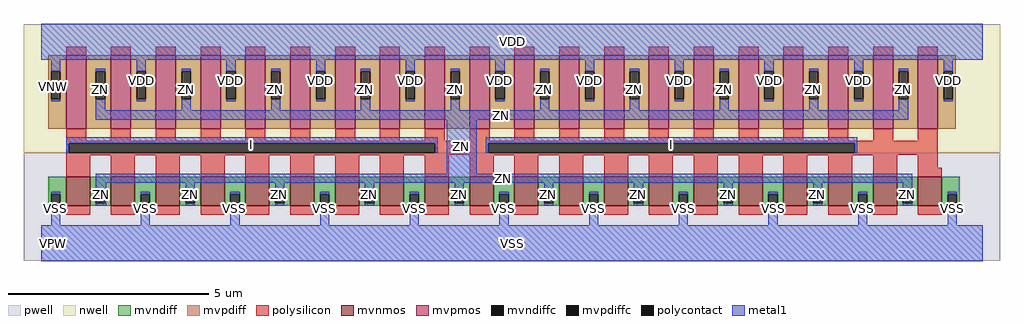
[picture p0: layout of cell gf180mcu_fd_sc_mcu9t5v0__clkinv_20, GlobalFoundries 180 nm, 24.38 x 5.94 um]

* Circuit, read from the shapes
.subckt gf180mcu_fd_sc_mcu9t5v0__clkinv_20 I ZN VDD VNW VPW VSS
XM1 ZN I VSS VPW nfet_06v0 w=0.73u l=0.6u m=20
XM2 ZN I VDD VNW pfet_06v0 w=1.83u l=0.5u m=20
.ends

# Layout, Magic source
magic
tech gf180mcuD
magscale 1 10
<< nwell >>
rect -86 453 4790 1094
<< pwell >>
rect -86 -86 4790 453
<< mvnmos >>
rect 124 187 244 333
rect 348 187 468 333
rect 572 187 692 333
rect 796 187 916 333
rect 1020 187 1140 333
rect 1244 187 1364 333
rect 1468 187 1588 333
rect 1692 187 1812 333
rect 1916 187 2036 333
rect 2140 187 2260 333
rect 2364 187 2484 333
rect 2588 187 2708 333
rect 2812 187 2932 333
rect 3036 187 3156 333
rect 3260 187 3380 333
rect 3484 187 3604 333
rect 3708 187 3828 333
rect 3932 187 4052 333
rect 4156 187 4276 333
rect 4380 187 4500 333
<< mvpmos >>
rect 124 573 224 939
rect 348 573 448 939
rect 572 573 672 939
rect 796 573 896 939
rect 1020 573 1120 939
rect 1244 573 1344 939
rect 1468 573 1568 939
rect 1692 573 1792 939
rect 1916 573 2016 939
rect 2140 573 2240 939
rect 2364 573 2464 939
rect 2588 573 2688 939
rect 2812 573 2912 939
rect 3036 573 3136 939
rect 3260 573 3360 939
rect 3484 573 3584 939
rect 3708 573 3808 939
rect 3932 573 4032 939
rect 4156 573 4256 939
rect 4380 573 4480 939
<< mvndiff >>
rect 36 246 124 333
rect 36 200 49 246
rect 95 200 124 246
rect 36 187 124 200
rect 244 246 348 333
rect 244 200 273 246
rect 319 200 348 246
rect 244 187 348 200
rect 468 246 572 333
rect 468 200 497 246
rect 543 200 572 246
rect 468 187 572 200
rect 692 246 796 333
rect 692 200 721 246
rect 767 200 796 246
rect 692 187 796 200
rect 916 246 1020 333
rect 916 200 945 246
rect 991 200 1020 246
rect 916 187 1020 200
rect 1140 246 1244 333
rect 1140 200 1169 246
rect 1215 200 1244 246
rect 1140 187 1244 200
rect 1364 246 1468 333
rect 1364 200 1393 246
rect 1439 200 1468 246
rect 1364 187 1468 200
rect 1588 246 1692 333
rect 1588 200 1617 246
rect 1663 200 1692 246
rect 1588 187 1692 200
rect 1812 246 1916 333
rect 1812 200 1841 246
rect 1887 200 1916 246
rect 1812 187 1916 200
rect 2036 246 2140 333
rect 2036 200 2065 246
rect 2111 200 2140 246
rect 2036 187 2140 200
rect 2260 246 2364 333
rect 2260 200 2289 246
rect 2335 200 2364 246
rect 2260 187 2364 200
rect 2484 246 2588 333
rect 2484 200 2513 246
rect 2559 200 2588 246
rect 2484 187 2588 200
rect 2708 246 2812 333
rect 2708 200 2737 246
rect 2783 200 2812 246
rect 2708 187 2812 200
rect 2932 246 3036 333
rect 2932 200 2961 246
rect 3007 200 3036 246
rect 2932 187 3036 200
rect 3156 246 3260 333
rect 3156 200 3185 246
rect 3231 200 3260 246
rect 3156 187 3260 200
rect 3380 246 3484 333
rect 3380 200 3409 246
rect 3455 200 3484 246
rect 3380 187 3484 200
rect 3604 246 3708 333
rect 3604 200 3633 246
rect 3679 200 3708 246
rect 3604 187 3708 200
rect 3828 246 3932 333
rect 3828 200 3857 246
rect 3903 200 3932 246
rect 3828 187 3932 200
rect 4052 246 4156 333
rect 4052 200 4081 246
rect 4127 200 4156 246
rect 4052 187 4156 200
rect 4276 246 4380 333
rect 4276 200 4305 246
rect 4351 200 4380 246
rect 4276 187 4380 200
rect 4500 246 4588 333
rect 4500 200 4529 246
rect 4575 200 4588 246
rect 4500 187 4588 200
<< mvpdiff >>
rect 36 861 124 939
rect 36 721 49 861
rect 95 721 124 861
rect 36 573 124 721
rect 224 861 348 939
rect 224 721 273 861
rect 319 721 348 861
rect 224 573 348 721
rect 448 861 572 939
rect 448 721 477 861
rect 523 721 572 861
rect 448 573 572 721
rect 672 861 796 939
rect 672 721 701 861
rect 747 721 796 861
rect 672 573 796 721
rect 896 861 1020 939
rect 896 721 925 861
rect 971 721 1020 861
rect 896 573 1020 721
rect 1120 861 1244 939
rect 1120 721 1149 861
rect 1195 721 1244 861
rect 1120 573 1244 721
rect 1344 861 1468 939
rect 1344 721 1373 861
rect 1419 721 1468 861
rect 1344 573 1468 721
rect 1568 861 1692 939
rect 1568 721 1597 861
rect 1643 721 1692 861
rect 1568 573 1692 721
rect 1792 861 1916 939
rect 1792 721 1821 861
rect 1867 721 1916 861
rect 1792 573 1916 721
rect 2016 861 2140 939
rect 2016 721 2045 861
rect 2091 721 2140 861
rect 2016 573 2140 721
rect 2240 861 2364 939
rect 2240 721 2269 861
rect 2315 721 2364 861
rect 2240 573 2364 721
rect 2464 861 2588 939
rect 2464 721 2493 861
rect 2539 721 2588 861
rect 2464 573 2588 721
rect 2688 861 2812 939
rect 2688 721 2717 861
rect 2763 721 2812 861
rect 2688 573 2812 721
rect 2912 861 3036 939
rect 2912 721 2941 861
rect 2987 721 3036 861
rect 2912 573 3036 721
rect 3136 861 3260 939
rect 3136 721 3165 861
rect 3211 721 3260 861
rect 3136 573 3260 721
rect 3360 861 3484 939
rect 3360 721 3389 861
rect 3435 721 3484 861
rect 3360 573 3484 721
rect 3584 861 3708 939
rect 3584 721 3613 861
rect 3659 721 3708 861
rect 3584 573 3708 721
rect 3808 861 3932 939
rect 3808 721 3837 861
rect 3883 721 3932 861
rect 3808 573 3932 721
rect 4032 861 4156 939
rect 4032 721 4061 861
rect 4107 721 4156 861
rect 4032 573 4156 721
rect 4256 861 4380 939
rect 4256 721 4285 861
rect 4331 721 4380 861
rect 4256 573 4380 721
rect 4480 861 4568 939
rect 4480 721 4509 861
rect 4555 721 4568 861
rect 4480 573 4568 721
<< mvndiffc >>
rect 49 200 95 246
rect 273 200 319 246
rect 497 200 543 246
rect 721 200 767 246
rect 945 200 991 246
rect 1169 200 1215 246
rect 1393 200 1439 246
rect 1617 200 1663 246
rect 1841 200 1887 246
rect 2065 200 2111 246
rect 2289 200 2335 246
rect 2513 200 2559 246
rect 2737 200 2783 246
rect 2961 200 3007 246
rect 3185 200 3231 246
rect 3409 200 3455 246
rect 3633 200 3679 246
rect 3857 200 3903 246
rect 4081 200 4127 246
rect 4305 200 4351 246
rect 4529 200 4575 246
<< mvpdiffc >>
rect 49 721 95 861
rect 273 721 319 861
rect 477 721 523 861
rect 701 721 747 861
rect 925 721 971 861
rect 1149 721 1195 861
rect 1373 721 1419 861
rect 1597 721 1643 861
rect 1821 721 1867 861
rect 2045 721 2091 861
rect 2269 721 2315 861
rect 2493 721 2539 861
rect 2717 721 2763 861
rect 2941 721 2987 861
rect 3165 721 3211 861
rect 3389 721 3435 861
rect 3613 721 3659 861
rect 3837 721 3883 861
rect 4061 721 4107 861
rect 4285 721 4331 861
rect 4509 721 4555 861
<< polysilicon >>
rect 124 939 224 983
rect 348 939 448 983
rect 572 939 672 983
rect 796 939 896 983
rect 1020 939 1120 983
rect 1244 939 1344 983
rect 1468 939 1568 983
rect 1692 939 1792 983
rect 1916 939 2016 983
rect 2140 939 2240 983
rect 2364 939 2464 983
rect 2588 939 2688 983
rect 2812 939 2912 983
rect 3036 939 3136 983
rect 3260 939 3360 983
rect 3484 939 3584 983
rect 3708 939 3808 983
rect 3932 939 4032 983
rect 4156 939 4256 983
rect 4380 939 4480 983
rect 124 513 224 573
rect 348 513 448 573
rect 572 513 672 573
rect 796 513 896 573
rect 1020 513 1120 573
rect 1244 513 1344 573
rect 1468 513 1568 573
rect 1692 513 1792 573
rect 1916 513 2016 573
rect 2140 513 2240 573
rect 2364 513 2464 573
rect 2588 513 2688 573
rect 2812 513 2912 573
rect 3036 513 3136 573
rect 3260 513 3360 573
rect 3484 513 3584 573
rect 3708 513 3808 573
rect 3932 513 4032 573
rect 4156 513 4256 573
rect 124 512 4256 513
rect 4380 512 4480 573
rect 124 500 4480 512
rect 124 454 137 500
rect 1969 454 2233 500
rect 4065 454 4480 500
rect 124 442 4480 454
rect 124 441 2036 442
rect 124 333 244 441
rect 348 333 468 441
rect 572 333 692 441
rect 796 333 916 441
rect 1020 333 1140 441
rect 1244 333 1364 441
rect 1468 333 1588 441
rect 1692 333 1812 441
rect 1916 333 2036 441
rect 2140 441 4276 442
rect 2140 333 2260 441
rect 2364 333 2484 441
rect 2588 333 2708 441
rect 2812 333 2932 441
rect 3036 333 3156 441
rect 3260 333 3380 441
rect 3484 333 3604 441
rect 3708 333 3828 441
rect 3932 333 4052 441
rect 4156 333 4276 441
rect 4380 377 4480 442
rect 4380 333 4500 377
rect 124 143 244 187
rect 348 143 468 187
rect 572 143 692 187
rect 796 143 916 187
rect 1020 143 1140 187
rect 1244 143 1364 187
rect 1468 143 1588 187
rect 1692 143 1812 187
rect 1916 143 2036 187
rect 2140 143 2260 187
rect 2364 143 2484 187
rect 2588 143 2708 187
rect 2812 143 2932 187
rect 3036 143 3156 187
rect 3260 143 3380 187
rect 3484 143 3604 187
rect 3708 143 3828 187
rect 3932 143 4052 187
rect 4156 143 4276 187
rect 4380 143 4500 187
<< polycontact >>
rect 137 454 1969 500
rect 2233 454 4065 500
<< metal1 >>
rect 0 918 4704 1098
rect 49 861 95 918
rect 49 710 95 721
rect 273 861 319 872
rect 273 664 319 721
rect 477 861 523 918
rect 477 710 523 721
rect 701 861 747 872
rect 701 664 747 721
rect 925 861 971 918
rect 925 710 971 721
rect 1149 861 1195 872
rect 1149 664 1195 721
rect 1373 861 1419 918
rect 1373 710 1419 721
rect 1597 861 1643 872
rect 1597 664 1643 721
rect 1821 861 1867 918
rect 1821 710 1867 721
rect 2045 861 2091 872
rect 2045 664 2091 721
rect 2269 861 2315 918
rect 2269 710 2315 721
rect 2493 861 2539 872
rect 2493 664 2539 721
rect 2717 861 2763 918
rect 2717 710 2763 721
rect 2941 861 2987 872
rect 2941 664 2987 721
rect 3165 861 3211 918
rect 3165 710 3211 721
rect 3389 861 3435 872
rect 3389 664 3435 721
rect 3613 861 3659 918
rect 3613 710 3659 721
rect 3837 861 3883 872
rect 3837 664 3883 721
rect 4061 861 4107 918
rect 4061 710 4107 721
rect 4285 861 4331 872
rect 4285 664 4331 721
rect 4509 861 4555 918
rect 4509 710 4555 721
rect 273 618 4331 664
rect 126 500 1980 530
rect 126 454 137 500
rect 1969 454 1980 500
rect 2026 349 2176 618
rect 2222 500 4076 530
rect 2222 454 2233 500
rect 4065 454 4076 500
rect 273 303 4351 349
rect 49 246 95 257
rect 49 90 95 200
rect 273 246 325 303
rect 319 200 325 246
rect 273 189 325 200
rect 497 246 543 257
rect 497 90 543 200
rect 721 246 767 303
rect 721 189 767 200
rect 945 246 991 257
rect 945 90 991 200
rect 1169 246 1215 303
rect 1169 189 1215 200
rect 1393 246 1439 257
rect 1393 90 1439 200
rect 1617 246 1663 303
rect 1617 189 1663 200
rect 1841 246 1887 257
rect 1841 90 1887 200
rect 2065 246 2111 303
rect 2065 189 2111 200
rect 2289 246 2335 257
rect 2289 90 2335 200
rect 2513 246 2559 303
rect 2513 189 2559 200
rect 2737 246 2783 257
rect 2737 90 2783 200
rect 2961 246 3007 303
rect 2961 189 3007 200
rect 3185 246 3231 257
rect 3185 90 3231 200
rect 3409 246 3455 303
rect 3409 189 3455 200
rect 3633 246 3679 257
rect 3633 90 3679 200
rect 3857 246 3903 303
rect 3857 189 3903 200
rect 4081 246 4127 257
rect 4081 90 4127 200
rect 4305 246 4351 303
rect 4305 189 4351 200
rect 4529 246 4575 257
rect 4529 90 4575 200
rect 0 -90 4704 90
<< labels >>
flabel metal1 s 126 454 1980 530 0 FreeSans 200 0 0 0 I
port 1 nsew default input
flabel metal1 s 0 918 4704 1098 0 FreeSans 200 0 0 0 VDD
port 3 nsew power bidirectional abutment
flabel metal1 s 4529 90 4575 257 0 FreeSans 200 0 0 0 VSS
port 6 nsew ground bidirectional abutment
flabel metal1 s 4285 664 4331 872 0 FreeSans 200 0 0 0 ZN
port 2 nsew default output
flabel nwell s 10 734 110 834 0 FreeSans 400 0 0 0 VNW
port 4 nsew power bidirectional
flabel pwell s 10 -50 110 50 0 FreeSans 400 0 0 0 VPW
port 5 nsew ground bidirectional
rlabel metal1 s 2222 454 4076 530 1 I
port 1 nsew default input
rlabel metal1 s 3837 664 3883 872 1 ZN
port 2 nsew default output
rlabel metal1 s 3389 664 3435 872 1 ZN
port 2 nsew default output
rlabel metal1 s 2941 664 2987 872 1 ZN
port 2 nsew default output
rlabel metal1 s 2493 664 2539 872 1 ZN
port 2 nsew default output
rlabel metal1 s 2045 664 2091 872 1 ZN
port 2 nsew default output
rlabel metal1 s 1597 664 1643 872 1 ZN
port 2 nsew default output
rlabel metal1 s 1149 664 1195 872 1 ZN
port 2 nsew default output
rlabel metal1 s 701 664 747 872 1 ZN
port 2 nsew default output
rlabel metal1 s 273 664 319 872 1 ZN
port 2 nsew default output
rlabel metal1 s 273 618 4331 664 1 ZN
port 2 nsew default output
rlabel metal1 s 2026 349 2176 618 1 ZN
port 2 nsew default output
rlabel metal1 s 273 303 4351 349 1 ZN
port 2 nsew default output
rlabel metal1 s 4305 189 4351 303 1 ZN
port 2 nsew default output
rlabel metal1 s 3857 189 3903 303 1 ZN
port 2 nsew default output
rlabel metal1 s 3409 189 3455 303 1 ZN
port 2 nsew default output
rlabel metal1 s 2961 189 3007 303 1 ZN
port 2 nsew default output
rlabel metal1 s 2513 189 2559 303 1 ZN
port 2 nsew default output
rlabel metal1 s 2065 189 2111 303 1 ZN
port 2 nsew default output
rlabel metal1 s 1617 189 1663 303 1 ZN
port 2 nsew default output
rlabel metal1 s 1169 189 1215 303 1 ZN
port 2 nsew default output
rlabel metal1 s 721 189 767 303 1 ZN
port 2 nsew default output
rlabel metal1 s 273 189 325 303 1 ZN
port 2 nsew default output
rlabel metal1 s 4509 710 4555 918 1 VDD
port 3 nsew power bidirectional abutment
rlabel metal1 s 4061 710 4107 918 1 VDD
port 3 nsew power bidirectional abutment
rlabel metal1 s 3613 710 3659 918 1 VDD
port 3 nsew power bidirectional abutment
rlabel metal1 s 3165 710 3211 918 1 VDD
port 3 nsew power bidirectional abutment
rlabel metal1 s 2717 710 2763 918 1 VDD
port 3 nsew power bidirectional abutment
rlabel metal1 s 2269 710 2315 918 1 VDD
port 3 nsew power bidirectional abutment
rlabel metal1 s 1821 710 1867 918 1 VDD
port 3 nsew power bidirectional abutment
rlabel metal1 s 1373 710 1419 918 1 VDD
port 3 nsew power bidirectional abutment
rlabel metal1 s 925 710 971 918 1 VDD
port 3 nsew power bidirectional abutment
rlabel metal1 s 477 710 523 918 1 VDD
port 3 nsew power bidirectional abutment
rlabel metal1 s 49 710 95 918 1 VDD
port 3 nsew power bidirectional abutment
rlabel metal1 s 4081 90 4127 257 1 VSS
port 6 nsew ground bidirectional abutment
rlabel metal1 s 3633 90 3679 257 1 VSS
port 6 nsew ground bidirectional abutment
rlabel metal1 s 3185 90 3231 257 1 VSS
port 6 nsew ground bidirectional abutment
rlabel metal1 s 2737 90 2783 257 1 VSS
port 6 nsew ground bidirectional abutment
rlabel metal1 s 2289 90 2335 257 1 VSS
port 6 nsew ground bidirectional abutment
rlabel metal1 s 1841 90 1887 257 1 VSS
port 6 nsew ground bidirectional abutment
rlabel metal1 s 1393 90 1439 257 1 VSS
port 6 nsew ground bidirectional abutment
rlabel metal1 s 945 90 991 257 1 VSS
port 6 nsew ground bidirectional abutment
rlabel metal1 s 497 90 543 257 1 VSS
port 6 nsew ground bidirectional abutment
rlabel metal1 s 49 90 95 257 1 VSS
port 6 nsew ground bidirectional abutment
rlabel metal1 s 0 -90 4704 90 1 VSS
port 6 nsew ground bidirectional abutment
<< properties >>
string FIXED_BBOX 0 0 4704 1008
string GDS_END 1485558
string GDS_FILE $PDKPATH/libs.ref/gf180mcu_fd_sc_mcu9t5v0/gds/gf180mcu_fd_sc_mcu9t5v0.gds
string GDS_START 1474720
string LEFclass core
string LEFsite GF018hv5v_green_sc9
string LEFsymmetry X Y
<< end >>
